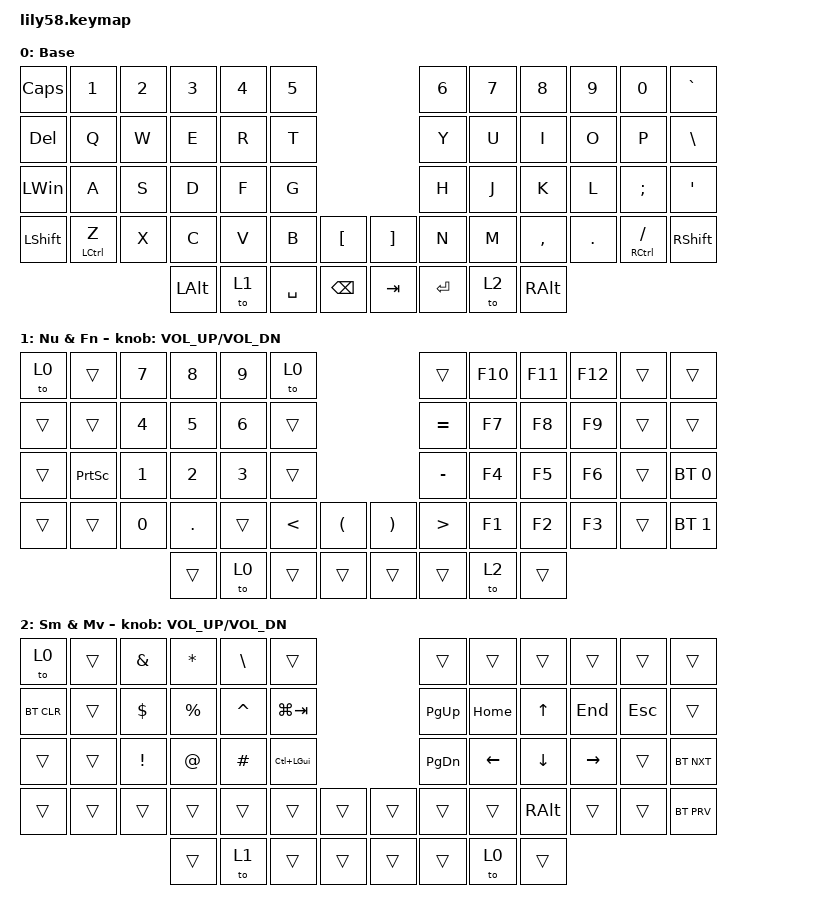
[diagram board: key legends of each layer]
/*
 * Copyright (c) 2020 The ZMK Contributors
 *
 * SPDX-License-Identifier: MIT
 */

#include <behaviors.dtsi>
#include <dt-bindings/zmk/bt.h>
#include <dt-bindings/zmk/keys.h>

/ {
    macros {
        Wnindows_Tabs: Wnindows_Tabs {
            compatible = "zmk,behavior-macro";
            #binding-cells = <0>;
            bindings = <&kp LEFT_WIN &kp TAB>;
            label = "WNINDOWS_TABS";
        };

        Omega: Omega {
            compatible = "zmk,behavior-macro";
            #binding-cells = <0>;
            bindings = <&kp LEFT_ALT &kp N2 &kp N3 &kp N4>;
            label = "OMEGA";
        };
    };

    keymap {
        compatible = "zmk,keymap";

        default_layer {
            // ------------------------------------------------------------------------------------------------------------
            // |  ESC  |  1  |  2  |  3   |  4   |  5   |                   |  6   |  7    |  8    |  9   |   0   |   `   |
            // |  TAB  |  Q  |  W  |  E   |  R   |  T   |                   |  Y   |  U    |  I    |  O   |   P   |   -   |
            // |  CTRL |  A  |  S  |  D   |  F   |  G   |                   |  H   |  J    |  K    |  L   |   ;   |   '   |
            // | SHIFT |  Z  |  X  |  C   |  V   |  B   |   "["  |  |  "]"  |  N   |  M    |  ,    |  .   |   /   | SHIFT |
            //                     | ALT  | GUI  | LOWER|  SPACE |  | ENTER | RAISE| BSPC  | GUI   |

            display-name = "Base";
            bindings = <
&kp CAPSLOCK  &kp N1       &kp N2  &kp N3    &kp N4  &kp N5                                &kp N6     &kp N7  &kp N8         &kp N9   &kp N0          &kp GRAVE
&kp DEL       &kp Q        &kp W   &kp E     &kp R   &kp T                                 &kp Y      &kp U   &kp I          &kp O    &kp P           &kp BACKSLASH
&kp LEFT_WIN  &kp A        &kp S   &kp D     &kp F   &kp G                                 &kp H      &kp J   &kp K          &kp L    &kp SEMI        &kp SQT
&kp LSHFT     &mt LCTRL Z  &kp X   &kp C     &kp V   &kp B      &kp LBKT         &kp RBKT  &kp N      &kp M   &kp COMMA      &kp DOT  &mt RCTRL FSLH  &kp RSHFT
                                   &kp LALT  &to 1   &kp SPACE  &kp BACKSPACE    &kp TAB   &kp ENTER  &to 2   &kp RIGHT_ALT
            >;
        };

        lower_layer {
            // ------------------------------------------------------------------------------------------------------------
            // | BTCLR | BT1 | BT2 |  BT3 |  BT4 |  BT5 |                   |      |       |       |      |       |       |
            // |  F1   |  F2 |  F3 |  F4  |  F5  |  F6  |                   |  F7  |  F8   |  F9   |  F10 |  F11  |  F12  |
            // |   `   |  !  |  @  |  #   |  $   |  %   |                   |  ^   |  &    |  *    |  (   |   )   |   ~   |
            // |       |     |     |      |      |      |        |  |       |      |  _    |  +    |  {   |   }   |  "|"  |
            //                     |      |      |      |        |  |       |      |       |       |

            display-name = "Nu & Fn";
            bindings = <
&to 0   &trans           &kp NUMBER_7  &kp NUMBER_8  &kp NUMBER_9  &to 0                                                         &trans            &kp F10  &kp F11  &kp F12  &trans  &trans
&trans  &trans           &kp NUMBER_4  &kp NUMBER_5  &kp NUMBER_6  &trans                                                        &kp EQUAL         &kp F7   &kp F8   &kp F9   &trans  &trans
&trans  &kp PRINTSCREEN  &kp NUMBER_1  &kp NUMBER_2  &kp NUMBER_3  &trans                                                        &kp MINUS         &kp F4   &kp F5   &kp F6   &trans  &bt BT_SEL 0
&trans  &trans           &kp NUMBER_0  &kp PERIOD    &trans        &kp LESS_THAN  &kp LEFT_PARENTHESIS    &kp RIGHT_PARENTHESIS  &kp GREATER_THAN  &kp F1   &kp F2   &kp F3   &trans  &bt BT_SEL 1
                                       &trans        &to 0         &trans         &trans                  &trans                 &trans            &to 2    &trans
            >;

            sensor-bindings = <&inc_dec_kp C_VOL_UP C_VOL_DN>;
        };

        raise_layer {
            // ------------------------------------------------------------------------------------------------------------
            // |       |     |     |      |      |      |                   |      |       |       |      |       |       |
            // |   `   |  1  |  2  |  3   |  4   |  5   |                   |  6   |   7   |   8   |  9   |   0   |       |
            // |   F1  |  F2 |  F3 |  F4  |  F5  |  F6  |                   |      |   <-  |   v   |  ^   |  ->   |       |
            // |   F7  |  F8 |  F9 |  F10 |  F11 |  F12 |        |  |       |  +   |   -   |   =   |  [   |   ]   |   \   |
            //                     |      |      |      |        |  |       |      |       |       |

            display-name = "Sm & Mv";
            bindings = <
&to 0       &trans  &kp AMPERSAND    &kp ASTERISK  &kp BACKSLASH  &trans                              &trans         &trans          &trans          &trans           &trans   &trans
&bt BT_CLR  &trans  &kp DOLLAR       &kp PERCENT   &kp CARET      &kp LG(TAB)                         &kp PAGE_UP    &kp HOME        &kp UP_ARROW    &kp END          &kp ESC  &trans
&trans      &trans  &kp EXCLAMATION  &kp AT_SIGN   &kp HASH       &kp LC(LEFT_GUI)                    &kp PAGE_DOWN  &kp LEFT_ARROW  &kp DOWN_ARROW  &kp RIGHT_ARROW  &trans   &bt BT_NXT
&trans      &trans  &trans           &trans        &trans         &trans            &trans    &trans  &trans         &trans          &kp RIGHT_ALT   &trans           &trans   &bt BT_PRV
                                     &trans        &to 1          &trans            &trans    &trans  &trans         &to 0           &trans
            >;

            sensor-bindings = <&inc_dec_kp C_VOL_UP C_VOL_DN>;
        };

        extra_1 { status = "reserved"; };

        extra_2 { status = "reserved"; };

        extra_3 { status = "reserved"; };
    };
};
